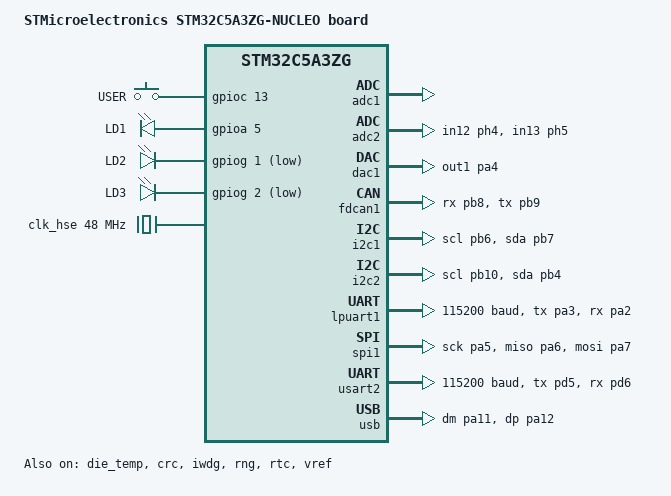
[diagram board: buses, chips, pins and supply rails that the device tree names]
/*
 * Copyright (c) 2026 STMicroelectronics
 *
 * SPDX-License-Identifier: Apache-2.0
 */

/dts-v1/;
#include <st/c5/stm32c5a3Xg.dtsi>
#include <st/c5/stm32c5(9-a)3z(e-g)tx-pinctrl.dtsi>
#include <zephyr/dt-bindings/input/input-event-codes.h>
#include "arduino_r3_connector.dtsi"
#include "st_morpho_connector.dtsi"

/ {
	model = "STMicroelectronics STM32C5A3ZG-NUCLEO board";
	compatible = "st,stm32c5a3zg-nucleo";

	#address-cells = <1>;
	#size-cells = <1>;

	chosen {
		zephyr,canbus = &fdcan1;
		zephyr,console = &lpuart1;
		zephyr,code-partition = &slot0_partition;
		zephyr,shell-uart = &lpuart1;
		zephyr,sram = &sram1;
		zephyr,flash = &flash0;
	};

	aliases {
		die-temp0 = &die_temp;
		led0 = &green_led;
		sw0 = &user_button;
		volt-sensor0 = &vref;
		watchdog0 = &iwdg;
	};

	gpio_keys {
		compatible = "gpio-keys";

		user_button: button {
			label = "USER";
			gpios = <&gpioc 13 GPIO_ACTIVE_HIGH>;
			zephyr,code = <INPUT_KEY_0>;
		};
	};

	leds: leds {
		compatible = "gpio-leds";

		green_led: led_1 {
			/* LD1 may conflict with SPI1 SCK on PA5 */
			gpios = <&gpioa 5 GPIO_ACTIVE_HIGH>;
			label = "LD1";
		};

		red_led: led_2 {
			gpios = <&gpiog 1 GPIO_ACTIVE_LOW>;
			label = "LD2";
		};

		blue_led: led_3 {
			gpios = <&gpiog 2 GPIO_ACTIVE_LOW>;
			label = "LD3";
		};
	};
};

&adc1 {
	clocks = <&rcc STM32_CLOCK(AHB2, 10)>,
		 <&rcc STM32_SRC_HSIK ADCDAC_SEL(3)>;
	status = "okay";
};

&adc2 {
	clocks = <&rcc STM32_CLOCK(AHB2, 10)>,
		 <&rcc STM32_SRC_HSIK ADCDAC_SEL(3)>;
	clock-names = "adcx", "adc_ker";
	pinctrl-0 = <&adc2_in12_ph4 &adc2_in13_ph5>; /* Arduino A1 & A2 */
	pinctrl-names = "default";
	status = "okay";
};

&dac1 {
	clocks = <&rcc STM32_CLOCK(AHB2, 11)>,
		 <&rcc STM32_SRC_PSIK ADCDAC_SEL(2)>;
	pinctrl-0 = <&dac1_out1_pa4>;
	pinctrl-names = "default";
	status = "okay";
};

&die_temp {
	status = "okay";
};

&clk_hse {
	clock-frequency = <DT_FREQ_M(48)>;
	status = "okay";
};

&clk_hsidiv3 {
	status = "okay";
};

&clk_hsik {
	clock-frequency = <DT_FREQ_M(32)>;
	xsik-div = "4.5";
	status = "okay";
};

&clk_hsis {
	status = "okay";
};

&clk_lse {
	status = "okay";
};

&clk_lsi {
	status = "okay";
};

&clk_psik {
	clock-frequency = <DT_FREQ_M(80)>;
	xsik-div = "2";
	status = "okay";
};

&clk_psis {
	clock-frequency = <DT_FREQ_M(160)>;
	status = "okay";
};

&fdcan1 {
	clocks = <&rcc STM32_CLOCK(APB1_2, 9)>,
		 <&rcc STM32_SRC_PSIK FDCAN_SEL(2)>;
	pinctrl-0 = <&fdcan1_rx_pb8 &fdcan1_tx_pb9>;
	pinctrl-names = "default";
	status = "okay";
};

&crc {
	status = "okay";
};

&flash0 {
	partitions {
		compatible = "fixed-partitions";
		#address-cells = <1>;
		#size-cells = <1>;

		boot_partition: partition@0 {
			label = "mcuboot";
			reg = <0x00000000 DT_SIZE_K(48)>;
		};

		slot0_partition: partition@c000 {
			label = "image-0";
			reg = <0x0000c000 DT_SIZE_K(472)>;
		};

		slot1_partition: partition@82000 {
			label = "image-1";
			reg = <0x00082000 DT_SIZE_K(480)>;
		};

		storage_partition: partition@fa000 {
			label = "storage";
			reg = <0x000fa000 DT_SIZE_K(24)>;
		};
	};
};

&i2c1 {
	pinctrl-0 = <&i2c1_scl_pb6 &i2c1_sda_pb7>;
	pinctrl-names = "default";
	status = "okay";
};

&i2c2 {
	pinctrl-0 = <&i2c2_scl_pb10 &i2c2_sda_pb4>;
	pinctrl-names = "default";
	status = "okay";
};

&iwdg {
	status = "okay";
};

&lpdma1 {
	status = "okay";
};

&lpuart1 {
	pinctrl-0 = <&lpuart1_tx_pa3 &lpuart1_rx_pa2>;
	pinctrl-names = "default";
	current-speed = <115200>;
	tx-rx-swap;
	status = "okay";
};

&rcc {
	clocks = <&clk_hsis>;
	clock-frequency = <DT_FREQ_M(144)>;
	ahb-prescaler = <1>;
	apb1-prescaler = <2>;
	apb2-prescaler = <2>;
	apb3-prescaler = <2>;
	st,psi-frequency = <160>;
	st,psi-source = "HSE";
};

&rng {
	clocks = <&rcc STM32_CLOCK(AHB2, 18)>,
		 <&rcc STM32_SRC_CK48 CK48_SEL(2)>;
	status = "okay";
};

&rtc {
	clocks = <&rcc STM32_CLOCK(APB3, 21)>,
		 <&rcc STM32_SRC_LSE RTC_SEL(1)>;
	status = "okay";
};

&spi1 {
	/* SPI1 SCK may conflict with LD1 (Green LED) on PA5 */
	pinctrl-0 = <&spi1_sck_pa5 &spi1_miso_pa6 &spi1_mosi_pa7>;
	pinctrl-names = "default";
	cs-gpios = <&gpiob 5 (GPIO_ACTIVE_LOW | GPIO_PULL_UP)>;
	status = "okay";
};

&usart2 {
	pinctrl-0 = <&usart2_tx_pd5 &usart2_rx_pd6>;
	pinctrl-names = "default";
	current-speed = <115200>;
	status = "okay";
};

zephyr_udc0: &usb {
	clocks = <&rcc STM32_CLOCK(APB2, 24)>,
		 <&rcc STM32_SRC_CK48 CK48_SEL(2)>;
	pinctrl-0 = <&usb_dm_pa11 &usb_dp_pa12>;
	pinctrl-names = "default";
	status = "okay";
};

&vref {
	status = "okay";
};
